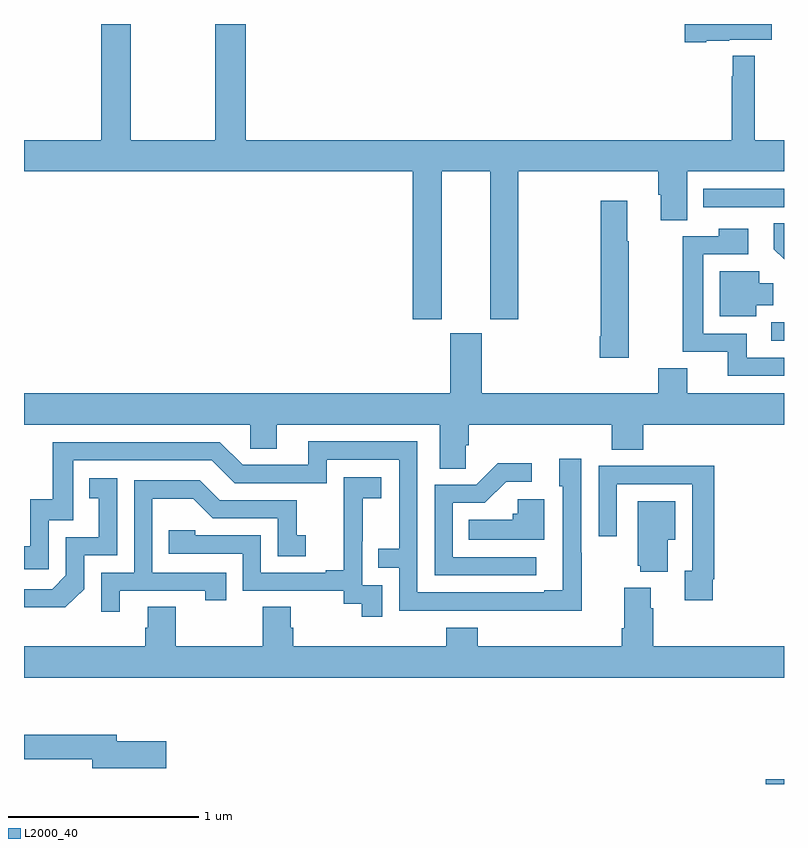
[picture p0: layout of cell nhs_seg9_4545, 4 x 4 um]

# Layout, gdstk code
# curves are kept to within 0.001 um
import gdstk
lib = gdstk.Library(unit=1e-6, precision=1e-09)
def R(c, l, rs):  # rectangles x0, y0, x1, y1
    for r in rs: c.add(gdstk.rectangle(r[:2], r[2:], *l))
def P(c, l, *ps):  # polygons
    for p in ps: c.add(gdstk.Polygon(p, *l))
L2000_40 = (2000, 40)

nhs_seg9_4545 = lib.new_cell('nhs_seg9_4545')
R(nhs_seg9_4545, L2000_40, [(374.904,1222.5,375,1222.526), (374.934,1224.834,375,1224.93), (374.576,1225.536,375,1225.632)])
P(nhs_seg9_4545, L2000_40, [(373.198,1225.724),(373.454,1225.724),(373.454,1224.945),(373.602,1224.945),(373.602,1225.724),(374.339,1225.724),(374.339,1225.602),(374.351,1225.602),(374.351,1225.468),(374.491,1225.468),(374.491,1225.724),(375,1225.724),(375,1225.888),(374.845,1225.888),(374.845,1226.332),(374.731,1226.332),(374.731,1226.225),(374.724,1226.225),(374.724,1225.888),(372.167,1225.888),(372.167,1226.5),(372.007,1226.5),(372.007,1225.888),(371.562,1225.888),(371.562,1226.5),(371.407,1226.5),(371.407,1225.888),(371,1225.888),(371,1225.724),(373.046,1225.724),(373.046,1224.945),(373.198,1224.945)],
  [(374.59,1226.411),(374.712,1226.411),(374.712,1226.417),(374.935,1226.417),(374.935,1226.5),(374.478,1226.5),(374.478,1226.405),(374.59,1226.405)],
  [(374.184,1225.357),(374.176,1225.357),(374.176,1225.57),(374.035,1225.57),(374.035,1224.856),(374.03,1224.856),(374.03,1224.744),(374.184,1224.744)],
  [(375,1225.451),(374.947,1225.451),(374.947,1225.315),(375,1225.262)],
  [(375,1224.744),(374.803,1224.744),(374.803,1224.87),(374.574,1224.87),(374.574,1225.287),(374.812,1225.287),(374.812,1225.423),(374.656,1225.423),(374.656,1225.383),(374.466,1225.383),(374.466,1224.774),(374.705,1224.774),(374.705,1224.648),(375,1224.648)],
  [(374.854,1225.019),(374.944,1225.019),(374.944,1225.135),(374.869,1225.135),(374.869,1225.198),(374.663,1225.198),(374.663,1224.962),(374.854,1224.962)],
  [(374.339,1224.689),(374.339,1224.556),(373.408,1224.556),(373.408,1224.873),(373.244,1224.873),(373.244,1224.556),(371,1224.556),(371,1224.392),(372.192,1224.392),(372.192,1224.265),(372.331,1224.265),(372.331,1224.392),(373.187,1224.392),(373.187,1224.16),(373.326,1224.16),(373.326,1224.283),(373.34,1224.283),(373.34,1224.392),(374.093,1224.392),(374.093,1224.259),(374.258,1224.259),(374.258,1224.392),(375,1224.392),(375,1224.556),(374.491,1224.556),(374.491,1224.689)],
  [(373.935,1223.717),(373.932,1223.717),(373.932,1224.211),(373.817,1224.211),(373.817,1224.066),(373.836,1224.066),(373.836,1223.521),(373.739,1223.521),(373.739,1223.508),(373.071,1223.508),(373.071,1224.303),(372.497,1224.303),(372.497,1224.18),(372.15,1224.18),(372.03,1224.3),(371.151,1224.3),(371.151,1223.998),(371.033,1223.998),(371.033,1223.751),(371,1223.751),(371,1223.631),(371.13,1223.631),(371.13,1223.889),(371.259,1223.889),(371.259,1224.204),(371.988,1224.204),(372.108,1224.084),(372.594,1224.084),(372.594,1224.207),(372.975,1224.207),(372.975,1223.738),(372.865,1223.738),(372.865,1223.637),(372.975,1223.637),(372.975,1223.412),(373.935,1223.411)],
  [(373.696,1223.694),(373.257,1223.694),(373.257,1223.979),(373.426,1223.979),(373.537,1224.09),(373.672,1224.09),(373.672,1224.188),(373.493,1224.188),(373.38,1224.075),(373.161,1224.075),(373.161,1223.598),(373.696,1223.598)],
  [(374.626,1223.578),(374.633,1223.578),(374.633,1224.176),(374.341,1224.176),(374.341,1224.174),(374.025,1224.174),(374.025,1223.805),(374.121,1223.805),(374.121,1224.078),(374.517,1224.078),(374.517,1223.622),(374.477,1223.622),(374.477,1223.466),(374.626,1223.466)],
  [(372.885,1223.547),(372.78,1223.547),(372.78,1223.777),(372.782,1223.777),(372.782,1224.005),(372.88,1224.005),(372.88,1224.115),(372.682,1224.115),(372.682,1223.909),(372.683,1223.909),(372.683,1223.626),(372.587,1223.626),(372.587,1223.613),(372.246,1223.613),(372.246,1223.808),(371.901,1223.808),(371.901,1223.835),(371.761,1223.835),(371.761,1223.712),(372.15,1223.712),(372.15,1223.517),(372.684,1223.517),(372.684,1223.449),(372.777,1223.449),(372.777,1223.379),(372.885,1223.379)],
  [(371.316,1223.526),(371.316,1223.703),(371.49,1223.703),(371.49,1224.109),(371.344,1224.109),(371.344,1224.003),(371.393,1224.003),(371.393,1223.799),(371.22,1223.799),(371.22,1223.598),(371.148,1223.526),(371,1223.526),(371,1223.429),(371.218,1223.429)],
  [(371.503,1223.517),(371.954,1223.517),(371.954,1223.466),(372.065,1223.466),(372.065,1223.613),(371.676,1223.613),(371.676,1224.002),(371.89,1224.002),(371.994,1223.898),(372.336,1223.898),(372.336,1223.7),(372.484,1223.7),(372.484,1223.809),(372.435,1223.809),(372.435,1223.994),(372.031,1223.994),(371.926,1224.099),(371.58,1224.099),(371.58,1223.613),(371.406,1223.613),(371.406,1223.406),(371.503,1223.406)],
  [(373.738,1223.998),(373.599,1223.998),(373.599,1223.922),(373.573,1223.922),(373.573,1223.89),(373.342,1223.89),(373.342,1223.786),(373.738,1223.786)],
  [(374.389,1223.786),(374.428,1223.786),(374.428,1223.989),(374.231,1223.989),(374.231,1223.649),(374.243,1223.649),(374.243,1223.618),(374.389,1223.618)],
  [(375,1223.224),(374.312,1223.224),(374.312,1223.426),(374.299,1223.426),(374.299,1223.533),(374.159,1223.533),(374.159,1223.32),(374.147,1223.32),(374.147,1223.224),(373.388,1223.224),(373.388,1223.323),(373.223,1223.323),(373.223,1223.224),(372.416,1223.224),(372.416,1223.322),(372.403,1223.322),(372.403,1223.432),(372.256,1223.432),(372.256,1223.224),(371.799,1223.224),(371.799,1223.432),(371.651,1223.432),(371.651,1223.322),(371.639,1223.322),(371.639,1223.224),(371,1223.224),(371,1223.06),(375,1223.06)],
  [(371.749,1222.725),(371.488,1222.725),(371.488,1222.759),(371,1222.759),(371,1222.63),(371.36,1222.63),(371.36,1222.583),(371.749,1222.583)])

lib.write_gds('nhs_seg9_4545.gds')
